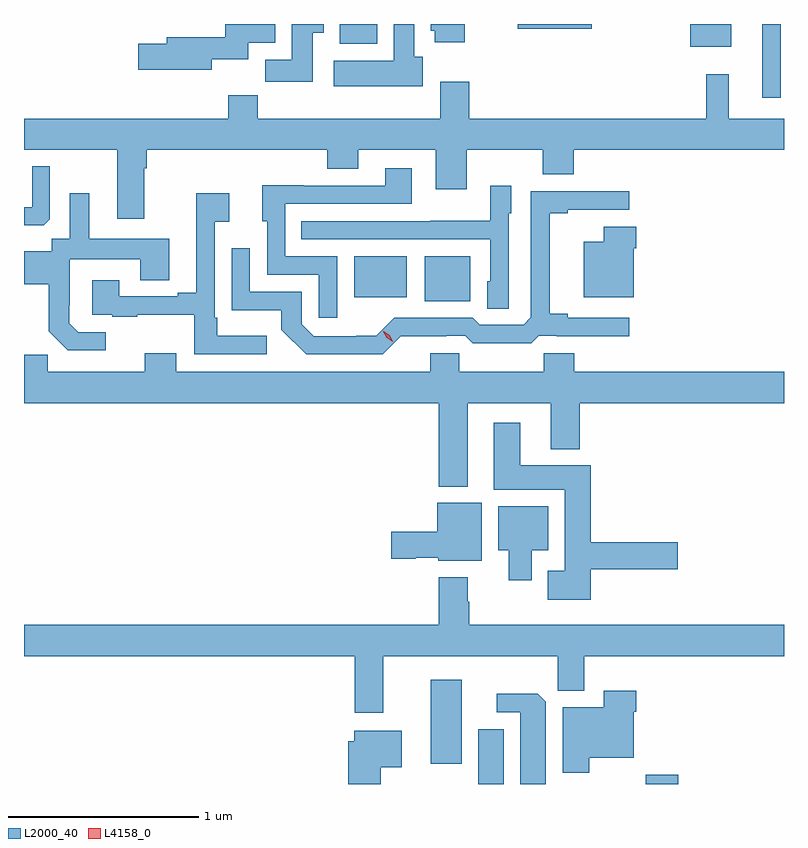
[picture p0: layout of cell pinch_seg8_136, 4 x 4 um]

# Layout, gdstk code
import gdstk
lib = gdstk.Library(unit=1e-6, precision=1e-09)
def R(c, l, rs):  # rectangles x0, y0, x1, y1
    for r in rs: c.add(gdstk.rectangle(r[:2], r[2:], *l))
def P(c, l, *ps):  # polygons
    for p in ps: c.add(gdstk.Polygon(p, *l))
L2000_40 = (2000, 40)
L4158_0 = (4158, 0)

pinch_seg8_136 = lib.new_cell('pinch_seg8_136')
R(pinch_seg8_136, L2000_40, [(772.964,1157.119,773.098,1157.407), (773.846,1157.119,774.017,1157.167), (772.715,1157.226,772.876,1157.668), (772.682,1159.661,772.921,1159.897), (772.31,1159.682,772.588,1159.897), (774.458,1160.73,774.555,1161.119), (774.08,1160.999,774.295,1161.119), (772.235,1161.014,772.431,1161.119), (773.172,1161.094,773.56,1161.119)])
P(pinch_seg8_136, L2000_40, [(772.894,1161.119),(772.715,1161.119),(772.715,1161.084),(772.736,1161.084),(772.736,1161.024),(772.894,1161.024)],
  [(771.562,1160.933),(771.754,1160.933),(771.754,1161.02),(771.895,1161.02),(771.895,1161.119),(771.632,1161.119),(771.632,1161.05),(771.323,1161.05),(771.323,1161.014),(771.174,1161.014),(771.174,1160.879),(771.562,1160.879)],
  [(772.093,1161.073),(772.15,1161.073),(772.15,1161.119),(771.983,1161.119),(771.983,1160.932),(771.844,1160.932),(771.844,1160.814),(772.093,1160.814)],
  [(772.672,1160.946),(772.627,1160.946),(772.627,1161.119),(772.52,1161.119),(772.52,1160.926),(772.203,1160.926),(772.203,1160.792),(772.672,1160.792)],
  [(771.205,1160.36),(771.218,1160.36),(771.218,1160.456),(772.169,1160.456),(772.169,1160.357),(772.333,1160.357),(772.333,1160.456),(772.739,1160.456),(772.739,1160.25),(772.903,1160.25),(772.903,1160.456),(773.303,1160.456),(773.303,1160.328),(773.467,1160.328),(773.467,1160.456),(774.573,1160.456),(774.573,1160.62),(774.281,1160.62),(774.281,1160.854),(774.163,1160.854),(774.163,1160.62),(772.916,1160.62),(772.916,1160.815),(772.763,1160.815),(772.763,1160.62),(771.803,1160.62),(771.803,1160.744),(771.647,1160.744),(771.647,1160.62),(770.573,1160.62),(770.573,1160.456),(771.065,1160.456),(771.065,1160.094),(771.205,1160.094)],
  [(770.709,1160.091),(770.709,1160.371),(770.616,1160.371),(770.616,1160.154),(770.573,1160.154),(770.573,1160.06),(770.677,1160.06)],
  [(772.221,1159.896),(771.948,1159.896),(771.948,1160.172),(772.615,1160.172),(772.615,1160.359),(772.475,1160.359),(772.475,1160.268),(772.045,1160.268),(772.045,1160.27),(771.827,1160.27),(771.827,1160.082),(771.852,1160.082),(771.852,1159.8),(772.125,1159.8),(772.125,1159.572),(772.221,1159.572)],
  [(773.124,1160.124),(773.137,1160.124),(773.137,1160.269),(773.028,1160.269),(773.028,1160.083),(772.711,1160.083),(772.711,1160.082),(772.033,1160.082),(772.033,1159.986),(773.028,1159.986),(773.028,1159.764),(773.012,1159.764),(773.012,1159.621),(773.124,1159.621)],
  [(772.556,1159.475),(772.796,1159.475),(772.796,1159.479),(772.896,1159.479),(772.936,1159.44),(773.243,1159.44),(773.283,1159.479),(773.377,1159.479),(773.377,1159.475),(773.758,1159.475),(773.758,1159.572),(773.434,1159.572),(773.434,1159.595),(773.339,1159.595),(773.339,1160.122),(773.434,1160.122),(773.434,1160.142),(773.758,1160.142),(773.758,1160.238),(773.241,1160.238),(773.241,1159.575),(773.202,1159.536),(772.971,1159.536),(772.935,1159.572),(772.521,1159.572),(772.427,1159.478),(772.322,1159.478),(772.322,1159.476),(772.098,1159.476),(772.035,1159.539),(772.035,1159.71),(771.762,1159.71),(771.762,1159.939),(771.666,1159.939),(771.666,1159.613),(771.928,1159.613),(771.928,1159.511),(772.058,1159.38),(772.461,1159.38)],
  [(771.85,1159.477),(771.589,1159.477),(771.589,1159.573),(771.576,1159.573),(771.576,1160.078),(771.652,1160.078),(771.652,1160.227),(771.479,1160.227),(771.479,1159.705),(771.383,1159.705),(771.383,1159.686),(771.073,1159.686),(771.073,1159.771),(770.933,1159.771),(770.933,1159.59),(771.037,1159.59),(771.037,1159.578),(771.169,1159.578),(771.169,1159.589),(771.468,1159.589),(771.468,1159.38),(771.85,1159.38)],
  [(771.004,1159.497),(770.859,1159.497),(770.812,1159.544),(770.812,1159.639),(770.814,1159.639),(770.814,1159.88),(771.185,1159.88),(771.185,1159.771),(771.337,1159.771),(771.337,1159.99),(770.917,1159.99),(770.917,1160.227),(770.813,1160.227),(770.813,1159.988),(770.718,1159.988),(770.718,1159.924),(770.573,1159.924),(770.573,1159.749),(770.703,1159.749),(770.703,1159.503),(770.803,1159.403),(771.004,1159.403)],
  [(773.782,1159.94),(773.795,1159.94),(773.795,1160.053),(773.624,1160.053),(773.624,1159.972),(773.519,1159.972),(773.519,1159.682),(773.782,1159.682)],
  [(772.863,1159.386),(772.712,1159.386),(772.712,1159.288),(771.373,1159.288),(771.373,1159.387),(771.209,1159.387),(771.209,1159.288),(770.699,1159.288),(770.699,1159.379),(770.573,1159.379),(770.573,1159.124),(772.757,1159.124),(772.757,1158.683),(772.909,1158.683),(772.909,1159.124),(773.345,1159.124),(773.345,1158.881),(773.498,1158.881),(773.498,1159.124),(774.573,1159.124),(774.573,1159.288),(773.468,1159.288),(773.468,1159.386),(773.308,1159.386),(773.308,1159.288),(772.863,1159.288)],
  [(773.555,1158.25),(774.013,1158.25),(774.013,1158.392),(773.555,1158.392),(773.555,1158.796),(773.185,1158.796),(773.185,1159.021),(773.045,1159.021),(773.045,1158.668),(773.42,1158.668),(773.42,1158.241),(773.33,1158.241),(773.33,1158.089),(773.555,1158.089)],
  [(772.981,1158.598),(772.748,1158.598),(772.748,1158.446),(772.506,1158.446),(772.506,1158.304),(772.635,1158.304),(772.635,1158.311),(772.752,1158.311),(772.752,1158.293),(772.981,1158.293)],
  [(773.245,1158.35),(773.332,1158.35),(773.332,1158.58),(773.069,1158.58),(773.069,1158.35),(773.123,1158.35),(773.123,1158.192),(773.245,1158.192)],
  [(772.465,1157.792),(773.383,1157.792),(773.383,1157.61),(773.521,1157.61),(773.521,1157.792),(774.573,1157.792),(774.573,1157.956),(772.917,1157.956),(772.917,1158.077),(772.909,1158.077),(772.909,1158.208),(772.757,1158.208),(772.757,1157.956),(770.573,1157.956),(770.573,1157.792),(772.313,1157.792),(772.313,1157.493),(772.465,1157.493)],
  [(773.548,1157.258),(773.782,1157.258),(773.782,1157.498),(773.795,1157.498),(773.795,1157.611),(773.624,1157.611),(773.624,1157.524),(773.408,1157.524),(773.408,1157.179),(773.548,1157.179)],
  [(773.32,1157.552),(773.278,1157.594),(773.061,1157.594),(773.061,1157.496),(773.186,1157.496),(773.186,1157.119),(773.32,1157.119)],
  [(772.45,1157.207),(772.561,1157.207),(772.561,1157.398),(772.31,1157.398),(772.31,1157.343),(772.28,1157.343),(772.28,1157.119),(772.45,1157.119)])
P(pinch_seg8_136, L4158_0, [(772.513,1159.446),(772.482,1159.467),(772.465,1159.5),(772.465,1159.501),(772.466,1159.501),(772.497,1159.48),(772.513,1159.446),(772.513,1159.446)])

lib.write_gds('pinch_seg8_136.gds')
